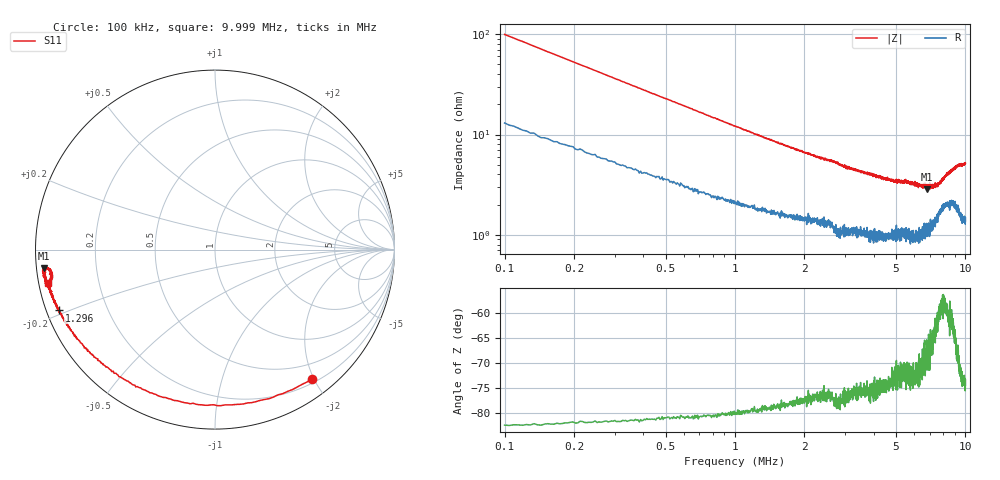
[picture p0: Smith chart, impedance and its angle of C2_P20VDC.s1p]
# HZ S RI R 50
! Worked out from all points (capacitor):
!   2020 points, 100 kHz to 9.999 MHz, reference 50 ohm
!   read as one part to ground: C = 15.1 nF near 149 kHz
!   lowest |Z| = 2.85 ohm at 6.832 MHz (marker M1)
!   S11 on the Smith chart (normalised r, x): 100 kHz: 0.26, -1.97; 1.296 MHz: 0.04, -0.19; 9.999 MHz: 0.03, -0.10
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100000  0.5395 -0.7201
134321  0.3505 -0.8092
163739  0.2041 -0.8528
188254  0.0941 -0.865
232381  -0.0738 -0.8649
276508  -0.2106 -0.8416
320635  -0.3211 -0.8126
369665  -0.4141 -0.7702
423598  -0.4985 -0.7269
472628  -0.5611 -0.6892
536367  -0.6222 -0.6426
614815  -0.677 -0.5911
786420  -0.7669 -0.4989
972734  -0.816 -0.4268
1296332  -0.8681 -0.3393
1340459  -0.8743 -0.3337
1860177  -0.9043 -0.2526
2576015  -0.9285 -0.203
3056509  -0.9398 -0.1728
3816474  -0.9548 -0.1498
5052030  -0.9541 -0.1197
6287586  -0.9567 -0.1125
6831819  -0.954 -0.1018
7528045  -0.9379 -0.1099
7979121  -0.9229 -0.1152
8763601  -0.9111 -0.1433
9469633  -0.9232 -0.18
9999157  -0.9285 -0.1864
